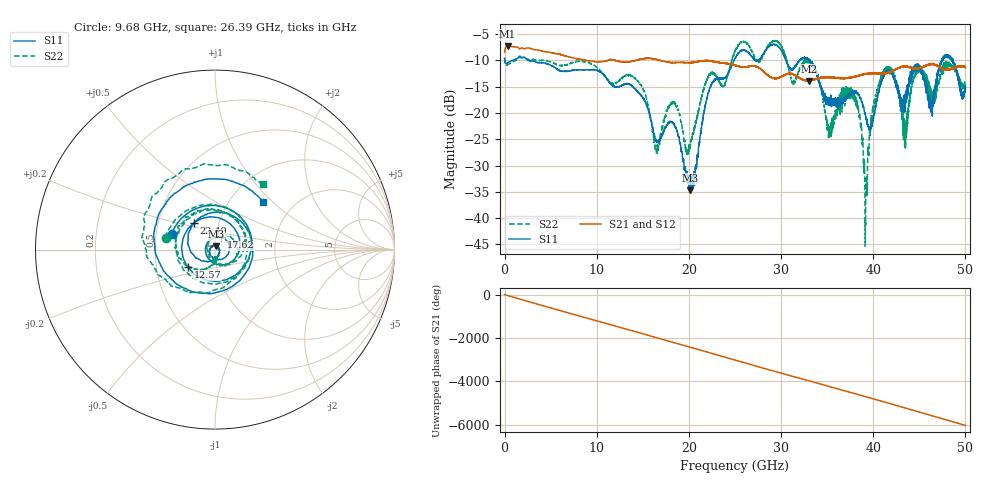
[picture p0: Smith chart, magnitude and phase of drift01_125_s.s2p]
!Created with skrf (http://scikit-rf.org).
# Hz S RI R 50.0
!freq ReS11 ImS11 ReS21 ImS21 ReS12 ImS12 ReS22 ImS22
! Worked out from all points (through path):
!   10001 points, 300 kHz to 50 GHz, reference 50 ohm
!   highest |S21| = -7.33 dB at 320.3 MHz (marker M1); lowest = -13.9 dB at 33.02 GHz (marker M2)
!   group delay of S21, straight-line fit = 335 ps
!   lowest |S11| = -34.7 dB at 20.17 GHz (marker M3), VSWR 1.04, Z = 50.6 + j1.75 ohm
!   |S11| at or under -10 dB: 2.554 GHz to 24.9 GHz (22.35 GHz wide, 163 % of centre); 30.53 GHz to 32.02 GHz (1.485 GHz wide, 4.75 % of centre); 33.06 GHz to 47.44 GHz (14.38 GHz wide, 35.7 % of centre) (the widest 3 of 18)
!   |S22| runs from -45.3 to -6.2 dB; largest |S21 - S12| = 0.012
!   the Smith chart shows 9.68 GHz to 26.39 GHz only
!   S11 on the Smith chart (normalised r, x): 9.68 GHz: 0.60, +0.12; 12.57 GHz: 0.72, -0.15; 17.62 GHz: 1.06, +0.15; 22.49 GHz: 0.76, +0.24; 26.39 GHz: 1.43, +0.88
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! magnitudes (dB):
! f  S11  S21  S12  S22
! 300 kHz  -9.6  -8.5  -8.5  -9.5
! 320.3 MHz  -10.5  -7.3  -7.3  -10.9
! 8.335 GHz  -11.8  -9.8  -9.8  -10.2
! 9.68 GHz  -11.8  -10.2  -10.2  -11.0
! 12.57 GHz  -14.9  -10.3  -10.3  -13.7
! 16.67 GHz  -25.6  -9.9  -9.9  -27.0
! 17.62 GHz  -22.2  -10.3  -10.3  -19.7
! 20.17 GHz  -34.7  -10.4  -10.4  -25.8
! 22.49 GHz  -14.4  -10.2  -10.2  -12.6
! 25 GHz  -9.6  -11.0  -11.0  -8.3
! 26.39 GHz  -8.5  -11.2  -11.2  -6.9
! 33.02 GHz  -9.8  -13.9  -13.8  -10.0
! 33.34 GHz  -10.7  -13.8  -13.8  -10.5
! 35.25 GHz  -17.5  -13.2  -13.3  -23.2
! 37.99 GHz  -15.8  -13.1  -13.1  -17.0
! 39.17 GHz  -20.5  -12.6  -12.6  -41.2
! 40.14 GHz  -19.9  -12.5  -12.5  -17.7
! 41.67 GHz  -12.0  -12.2  -12.3  -12.0
! 43.43 GHz  -18.4  -11.2  -11.3  -25.7
! 44.88 GHz  -10.9  -11.5  -11.6  -12.1
! 46.27 GHz  -19.5  -10.8  -10.7  -16.5
! 50 GHz  -15.6  -11.4  -11.4  -15.1
